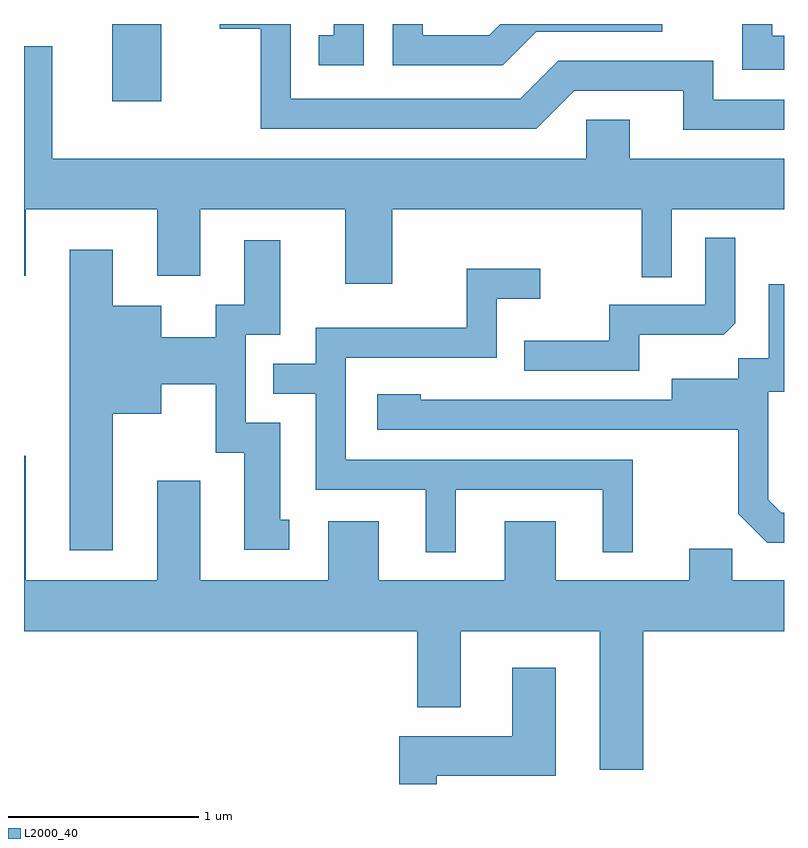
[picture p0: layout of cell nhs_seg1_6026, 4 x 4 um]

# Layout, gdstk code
import gdstk
lib = gdstk.Library(unit=1e-6, precision=1e-09)
def R(c, l, rs):  # rectangles x0, y0, x1, y1
    for r in rs: c.add(gdstk.rectangle(r[:2], r[2:], *l))
def P(c, l, *ps):  # polygons
    for p in ps: c.add(gdstk.Polygon(p, *l))
L2000_40 = (2000, 40)

nhs_seg1_6026 = lib.new_cell('nhs_seg1_6026')
R(nhs_seg1_6026, L2000_40, [(368.076,851.306,368.334,851.712)])
P(nhs_seg1_6026, L2000_40, [(369.399,851.712),(369.241,851.712),(369.241,851.654),(369.163,851.654),(369.163,851.496),(369.399,851.496)],
  [(371.611,851.314),(371.239,851.314),(371.239,851.519),(370.424,851.519),(370.224,851.319),(369.014,851.319),(369.014,851.712),(368.641,851.712),(368.641,851.686),(368.856,851.686),(368.856,851.161),(370.307,851.161),(370.507,851.361),(371.081,851.361),(371.081,851.156),(371.611,851.156)],
  [(370.307,851.671),(370.969,851.671),(370.969,851.712),(370.117,851.712),(370.059,851.654),(369.709,851.654),(369.709,851.712),(369.551,851.712),(369.551,851.496),(370.132,851.496)],
  [(371.611,851.649),(371.549,851.649),(371.549,851.712),(371.391,851.712),(371.391,851.471),(371.611,851.471)],
  [(369.549,850.736),(370.861,850.736),(370.861,850.378),(371.019,850.378),(371.019,850.736),(371.611,850.736),(371.611,851.004),(370.799,851.004),(370.799,851.209),(370.571,851.209),(370.571,851.004),(367.759,851.004),(367.759,851.594),(367.611,851.594),(367.611,850.386),(367.619,850.386),(367.619,850.736),(368.311,850.736),(368.311,850.386),(368.539,850.386),(368.539,850.736),(369.301,850.736),(369.301,850.346),(369.549,850.346)],
  [(370.849,850.076),(371.294,850.076),(371.354,850.137),(371.354,850.588),(371.196,850.588),(371.196,850.234),(370.691,850.234),(370.691,850.044),(370.243,850.044),(370.243,849.886),(370.849,849.886)],
  [(368.079,849.661),(368.334,849.661),(368.334,849.816),(368.621,849.816),(368.621,849.456),(368.771,849.456),(368.771,848.946),(369.008,848.946),(369.008,849.104),(368.959,849.104),(368.959,849.614),(368.779,849.614),(368.779,850.076),(368.959,850.076),(368.959,850.574),(368.771,850.574),(368.771,850.234),(368.621,850.234),(368.621,850.064),(368.334,850.064),(368.334,850.229),(368.079,850.229),(368.079,850.524),(367.851,850.524),(367.851,848.941),(368.079,848.941)],
  [(369.884,849.261),(370.656,849.261),(370.656,848.933),(370.814,848.933),(370.814,849.419),(369.304,849.419),(369.304,849.956),(370.099,849.956),(370.099,850.266),(370.328,850.266),(370.328,850.424),(369.941,850.424),(369.941,850.114),(369.146,850.114),(369.146,849.924),(368.923,849.924),(368.923,849.766),(369.146,849.766),(369.146,849.261),(369.726,849.261),(369.726,848.933),(369.884,848.933)],
  [(371.611,849.139),(371.597,849.139),(371.529,849.207),(371.529,849.776),(371.611,849.776),(371.611,850.343),(371.531,850.343),(371.531,849.954),(371.371,849.954),(371.371,849.844),(371.021,849.844),(371.021,849.734),(369.699,849.734),(369.699,849.764),(369.471,849.764),(369.471,849.576),(371.371,849.576),(371.371,849.134),(371.524,848.981),(371.611,848.981)],
  [(370.869,848.516),(371.611,848.516),(371.611,848.784),(371.339,848.784),(371.339,848.949),(371.111,848.949),(371.111,848.784),(370.409,848.784),(370.409,849.094),(370.141,849.094),(370.141,848.784),(369.479,848.784),(369.479,849.094),(369.211,849.094),(369.211,848.784),(368.539,848.784),(368.539,849.309),(368.311,849.309),(368.311,848.784),(367.619,848.784),(367.619,849.439),(367.611,849.439),(367.611,848.516),(369.681,848.516),(369.681,848.116),(369.909,848.116),(369.909,848.516),(370.641,848.516),(370.641,847.786),(370.869,847.786)],
  [(369.784,847.756),(370.409,847.756),(370.409,848.324),(370.181,848.324),(370.181,847.964),(369.586,847.964),(369.586,847.712),(369.784,847.712)])

lib.write_gds('nhs_seg1_6026.gds')
